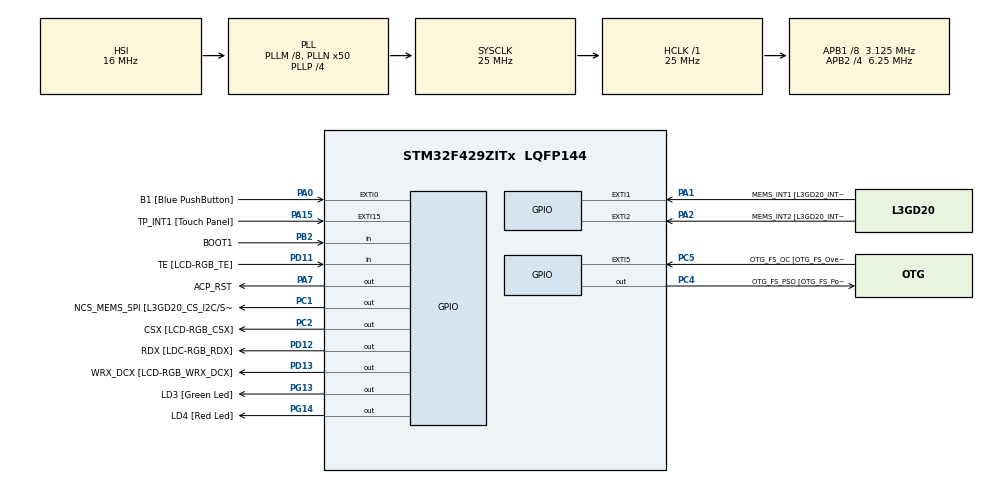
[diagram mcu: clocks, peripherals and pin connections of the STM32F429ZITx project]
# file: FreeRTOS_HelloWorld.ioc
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Mcu.Family=STM32F4
Mcu.Name=STM32F429ZITx
Mcu.Package=LQFP144
NVIC.PriorityGroup=NVIC_PRIORITYGROUP_4
NVIC.TIM6_DAC_IRQn=true\:0\:0\:false\:false\:true\:false\:true\:true
NVIC.TimeBase=TIM6_DAC_IRQn
NVIC.TimeBaseIP=TIM6
PA0/WKUP.GPIO_Label=B1 [Blue PushButton]
PA0/WKUP.GPIO_ModeDefaultEXTI=GPIO_MODE_EVT_RISING
PA0/WKUP.GPIO_PuPd=GPIO_NOPULL
PA0/WKUP.Signal=GPXTI0
PA1.GPIO_Label=MEMS_INT1 [L3GD20_INT1]
PA1.GPIO_ModeDefaultEXTI=GPIO_MODE_EVT_RISING
PA1.GPIO_PuPd=GPIO_NOPULL
PA1.Signal=GPXTI1
PA10.GPIO_Label=STLINK_TX [STM32F103CBT6_PA2]
PA10.Signal=USART1_RX
PA11.GPIO_Label=R4
PA11.GPIO_Mode=GPIO_MODE_AF_PP
PA11.GPIO_PuPd=GPIO_NOPULL
PA11.GPIO_Speed=GPIO_SPEED_FREQ_LOW
PA11.Signal=LTDC_R4
PA12.GPIO_Label=R5
PA12.GPIO_Mode=GPIO_MODE_AF_PP
PA12.GPIO_PuPd=GPIO_NOPULL
PA12.GPIO_Speed=GPIO_SPEED_FREQ_LOW
PA12.Signal=LTDC_R5
PA13.GPIO_Label=SWDIO
PA13.Mode=Serial_Wire
PA13.Signal=SYS_JTMS-SWDIO
PA14.GPIO_Label=SWCLK
PA14.Mode=Serial_Wire
PA14.Signal=SYS_JTCK-SWCLK
PA15.GPIO_Label=TP_INT1 [Touch Panel]
PA15.GPIO_ModeDefaultEXTI=GPIO_MODE_EVT_RISING
PA15.GPIO_PuPd=GPIO_NOPULL
PA15.Signal=GPXTI15
PA2.GPIO_Label=MEMS_INT2 [L3GD20_INT2]
PA2.GPIO_ModeDefaultEXTI=GPIO_MODE_EVT_RISING
PA2.GPIO_PuPd=GPIO_NOPULL
PA2.Signal=GPXTI2
PA3.GPIO_Label=B5
PA3.GPIO_Mode=GPIO_MODE_AF_PP
PA3.GPIO_PuPd=GPIO_NOPULL
PA3.GPIO_Speed=GPIO_SPEED_FREQ_LOW
PA3.Signal=LTDC_B5
PA4.GPIO_Label=VSYNC
PA4.GPIO_Mode=GPIO_MODE_AF_PP
PA4.GPIO_PuPd=GPIO_NOPULL
PA4.GPIO_Speed=GPIO_SPEED_FREQ_LOW
PA4.Signal=LTDC_VSYNC
PA6.GPIO_Label=G2
PA6.GPIO_Mode=GPIO_MODE_AF_PP
PA6.GPIO_PuPd=GPIO_NOPULL
PA6.GPIO_Speed=GPIO_SPEED_FREQ_LOW
PA6.Signal=LTDC_G2
PA7.GPIO_Label=ACP_RST
PA7.GPIO_Mode=GPIO_MODE_OUTPUT_PP
PA7.GPIO_PuPd=GPIO_NOPULL
PA7.GPIO_Speed=GPIO_SPEED_FREQ_LOW
PA7.Signal=GPIO_Output
PA8.GPIO_Label=I2C3_SCL [ACP/RF_SCL]
PA8.GPIO_Mode=GPIO_MODE_AF_OD
PA8.GPIO_PuPd=GPIO_NOPULL
PA8.GPIO_Speed=GPIO_SPEED_FREQ_LOW
PA8.Signal=I2C3_SCL
PA9.GPIO_Label=STLINK_RX [STM32F103CBT6_PA3]
PA9.Signal=USART1_TX
PB0.GPIO_Label=R3
PB0.GPIO_Mode=GPIO_MODE_AF_PP
PB0.GPIO_PuPd=GPIO_NOPULL
PB0.GPIO_Speed=GPIO_SPEED_FREQ_LOW
PB0.Signal=LTDC_R3
PB1.GPIO_Label=R6
PB1.GPIO_Mode=GPIO_MODE_AF_PP
PB1.GPIO_PuPd=GPIO_NOPULL
PB1.GPIO_Speed=GPIO_SPEED_FREQ_LOW
PB1.Signal=LTDC_R6
PB10.GPIO_Label=G4
PB10.GPIO_Mode=GPIO_MODE_AF_PP
PB10.GPIO_PuPd=GPIO_NOPULL
PB10.GPIO_Speed=GPIO_SPEED_FREQ_LOW
PB10.Signal=LTDC_G4
PB11.GPIO_Label=G5
PB11.GPIO_Mode=GPIO_MODE_AF_PP
PB11.GPIO_PuPd=GPIO_NOPULL
PB11.GPIO_Speed=GPIO_SPEED_FREQ_LOW
PB11.Signal=LTDC_G5
PB12.GPIO_Label=OTG_HS_ID
PB12.GPIO_Mode=GPIO_MODE_AF_PP
PB12.GPIO_PuPd=GPIO_NOPULL
PB12.GPIO_Speed=GPIO_SPEED_FREQ_LOW
PB12.Signal=USB_OTG_HS_ID
PB13.GPIO_Label=VBUS_HS
PB13.GPIO_Mode=GPIO_MODE_INPUT
PB13.GPIO_PuPd=GPIO_NOPULL
PB13.Signal=USB_OTG_HS_VBUS
PB14.GPIO_Label=OTG_HS_DM
PB14.GPIO_Mode=GPIO_MODE_AF_PP
PB14.GPIO_PuPd=GPIO_NOPULL
PB14.GPIO_Speed=GPIO_SPEED_FREQ_LOW
PB14.Signal=USB_OTG_HS_DM
PB15.GPIO_Label=OTG_HS_DP
PB15.GPIO_Mode=GPIO_MODE_AF_PP
PB15.GPIO_PuPd=GPIO_NOPULL
PB15.GPIO_Speed=GPIO_SPEED_FREQ_LOW
PB15.Signal=USB_OTG_HS_DP
PB2/BOOT1.GPIO_Label=BOOT1
PB2/BOOT1.GPIO_Mode=GPIO_MODE_INPUT
PB2/BOOT1.GPIO_PuPd=GPIO_NOPULL
PB2/BOOT1.Signal=GPIO_Input
PB5.GPIO_Label=SDCKE1
PB5.GPIO_Mode=GPIO_MODE_AF_PP
PB5.GPIO_PuPd=GPIO_NOPULL
PB5.GPIO_Speed=GPIO_SPEED_FREQ_VERY_HIGH
PB5.Signal=FMC_SDCKE1
PB6.GPIO_Label=SDNE1 [SDRAM_CS]
PB6.GPIO_Mode=GPIO_MODE_AF_PP
PB6.GPIO_PuPd=GPIO_NOPULL
PB6.GPIO_Speed=GPIO_SPEED_FREQ_VERY_HIGH
PB6.Signal=FMC_SDNE1
PB8.GPIO_Label=B6
PB8.GPIO_Mode=GPIO_MODE_AF_PP
PB8.GPIO_PuPd=GPIO_NOPULL
PB8.GPIO_Speed=GPIO_SPEED_FREQ_LOW
PB8.Signal=LTDC_B6
PB9.GPIO_Label=B7
PB9.GPIO_Mode=GPIO_MODE_AF_PP
PB9.GPIO_PuPd=GPIO_NOPULL
PB9.GPIO_Speed=GPIO_SPEED_FREQ_LOW
PB9.Signal=LTDC_B7
PC0.GPIO_Label=SDNWE
PC0.GPIO_Mode=GPIO_MODE_AF_PP
PC0.GPIO_PuPd=GPIO_NOPULL
PC0.GPIO_Speed=GPIO_SPEED_FREQ_VERY_HIGH
PC0.Signal=FMC_SDNWE
PC1.GPIO_Label=NCS_MEMS_SPI [L3GD20_CS_I2C/SPI]
PC1.GPIO_Mode=GPIO_MODE_OUTPUT_PP
PC1.GPIO_PuPd=GPIO_NOPULL
PC1.GPIO_Speed=GPIO_SPEED_FREQ_LOW
PC1.Signal=GPIO_Output
PC10.GPIO_Label=R2
PC10.GPIO_Mode=GPIO_MODE_AF_PP
PC10.GPIO_PuPd=GPIO_NOPULL
PC10.GPIO_Speed=GPIO_SPEED_FREQ_LOW
PC10.Signal=LTDC_R2
PC14/OSC32_IN.GPIO_Label=PC14-OSC32_IN
PC14/OSC32_IN.Signal=RCC_OSC32_IN
PC15/OSC32_OUT.GPIO_Label=PC15-OSC32_OUT
PC15/OSC32_OUT.Signal=RCC_OSC32_OUT
PC2.GPIO_Label=CSX [LCD-RGB_CSX]
PC2.GPIO_Mode=GPIO_MODE_OUTPUT_PP
PC2.GPIO_PuPd=GPIO_NOPULL
PC2.GPIO_Speed=GPIO_SPEED_FREQ_LOW
PC2.Signal=GPIO_Output
PC4.GPIO_Label=OTG_FS_PSO [OTG_FS_PowerSwitchOn]
PC4.GPIO_Mode=GPIO_MODE_OUTPUT_PP
PC4.GPIO_PuPd=GPIO_NOPULL
PC4.GPIO_Speed=GPIO_SPEED_FREQ_LOW
PC4.Signal=GPIO_Output
PC5.GPIO_Label=OTG_FS_OC [OTG_FS_OverCurrent]
PC5.GPIO_ModeDefaultEXTI=GPIO_MODE_EVT_RISING
PC5.Signal=GPXTI5
PC6.GPIO_Label=HSYNC
PC6.GPIO_Mode=GPIO_MODE_AF_PP
PC6.GPIO_PuPd=GPIO_NOPULL
PC6.GPIO_Speed=GPIO_SPEED_FREQ_LOW
PC6.Signal=LTDC_HSYNC
PC7.GPIO_Label=G6
PC7.GPIO_Mode=GPIO_MODE_AF_PP
PC7.GPIO_PuPd=GPIO_NOPULL
PC7.GPIO_Speed=GPIO_SPEED_FREQ_LOW
PC7.Signal=LTDC_G6
PC9.GPIO_Label=I2C3_SDA [ACP/RF_SDA]
PC9.GPIO_Mode=GPIO_MODE_AF_OD
PC9.GPIO_PuPd=GPIO_NOPULL
PC9.GPIO_Speed=GPIO_SPEED_FREQ_LOW
PC9.Signal=I2C3_SDA
PD0.GPIO_Label=D2
PD0.GPIO_Mode=GPIO_MODE_AF_PP
PD0.GPIO_PuPd=GPIO_NOPULL
PD0.GPIO_Speed=GPIO_SPEED_FREQ_VERY_HIGH
PD0.Signal=FMC_D2_DA2
PD1.GPIO_Label=D3
PD1.GPIO_Mode=GPIO_MODE_AF_PP
PD1.GPIO_PuPd=GPIO_NOPULL
PD1.GPIO_Speed=GPIO_SPEED_FREQ_VERY_HIGH
PD1.Signal=FMC_D3_DA3
PD10.GPIO_Label=D15
PD10.GPIO_Mode=GPIO_MODE_AF_PP
PD10.GPIO_PuPd=GPIO_NOPULL
PD10.GPIO_Speed=GPIO_SPEED_FREQ_VERY_HIGH
PD10.Signal=FMC_D15_DA15
PD11.GPIO_Label=TE [LCD-RGB_TE]
PD11.GPIO_Mode=GPIO_MODE_INPUT
PD11.GPIO_PuPd=GPIO_NOPULL
PD11.Signal=GPIO_Input
PD12.GPIO_Label=RDX [LDC-RGB_RDX]
PD12.GPIO_Mode=GPIO_MODE_OUTPUT_PP
PD12.GPIO_PuPd=GPIO_NOPULL
PD12.GPIO_Speed=GPIO_SPEED_FREQ_LOW
PD12.Signal=GPIO_Output
PD13.GPIO_Label=WRX_DCX [LCD-RGB_WRX_DCX]
PD13.GPIO_Mode=GPIO_MODE_OUTPUT_PP
PD13.GPIO_PuPd=GPIO_NOPULL
PD13.GPIO_Speed=GPIO_SPEED_FREQ_LOW
PD13.Signal=GPIO_Output
PD14.GPIO_Label=D0
PD14.GPIO_Mode=GPIO_MODE_AF_PP
PD14.GPIO_PuPd=GPIO_NOPULL
PD14.GPIO_Speed=GPIO_SPEED_FREQ_VERY_HIGH
PD14.Signal=FMC_D0_DA0
PD15.GPIO_Label=D1
PD15.GPIO_Mode=GPIO_MODE_AF_PP
PD15.GPIO_PuPd=GPIO_NOPULL
PD15.GPIO_Speed=GPIO_SPEED_FREQ_VERY_HIGH
PD15.Signal=FMC_D1_DA1
PD3.GPIO_Label=G7
PD3.GPIO_Mode=GPIO_MODE_AF_PP
PD3.GPIO_PuPd=GPIO_NOPULL
PD3.GPIO_Speed=GPIO_SPEED_FREQ_LOW
PD3.Signal=LTDC_G7
PD6.GPIO_Label=B2
PD6.GPIO_Mode=GPIO_MODE_AF_PP
PD6.GPIO_PuPd=GPIO_NOPULL
PD6.GPIO_Speed=GPIO_SPEED_FREQ_LOW
PD6.Signal=LTDC_B2
PD8.GPIO_Label=D13
PD8.GPIO_Mode=GPIO_MODE_AF_PP
PD8.GPIO_PuPd=GPIO_NOPULL
PD8.GPIO_Speed=GPIO_SPEED_FREQ_VERY_HIGH
PD8.Signal=FMC_D13_DA13
PD9.GPIO_Label=D14
PD9.GPIO_Mode=GPIO_MODE_AF_PP
PD9.GPIO_PuPd=GPIO_NOPULL
PD9.GPIO_Speed=GPIO_SPEED_FREQ_VERY_HIGH
PD9.Signal=FMC_D14_DA14
PE0.GPIO_Label=NBL0 [SDRAM_LDQM]
PE0.GPIO_Mode=GPIO_MODE_AF_PP
PE0.GPIO_PuPd=GPIO_NOPULL
PE0.GPIO_Speed=GPIO_SPEED_FREQ_VERY_HIGH
PE0.Signal=FMC_NBL0
PE1.GPIO_Label=NBL1 [SDRAM_UDQM]
PE1.GPIO_Mode=GPIO_MODE_AF_PP
PE1.GPIO_PuPd=GPIO_NOPULL
PE1.GPIO_Speed=GPIO_SPEED_FREQ_VERY_HIGH
PE1.Signal=FMC_NBL1
PE10.GPIO_Label=D7
PE10.GPIO_Mode=GPIO_MODE_AF_PP
PE10.GPIO_PuPd=GPIO_NOPULL
PE10.GPIO_Speed=GPIO_SPEED_FREQ_VERY_HIGH
PE10.Signal=FMC_D7_DA7
PE11.GPIO_Label=D8
PE11.GPIO_Mode=GPIO_MODE_AF_PP
PE11.GPIO_PuPd=GPIO_NOPULL
PE11.GPIO_Speed=GPIO_SPEED_FREQ_VERY_HIGH
PE11.Signal=FMC_D8_DA8
PE12.GPIO_Label=D9
PE12.GPIO_Mode=GPIO_MODE_AF_PP
PE12.GPIO_PuPd=GPIO_NOPULL
PE12.GPIO_Speed=GPIO_SPEED_FREQ_VERY_HIGH
PE12.Signal=FMC_D9_DA9
PE13.GPIO_Label=D10
PE13.GPIO_Mode=GPIO_MODE_AF_PP
PE13.GPIO_PuPd=GPIO_NOPULL
PE13.GPIO_Speed=GPIO_SPEED_FREQ_VERY_HIGH
PE13.Signal=FMC_D10_DA10
PE14.GPIO_Label=D11
PE14.GPIO_Mode=GPIO_MODE_AF_PP
PE14.GPIO_PuPd=GPIO_NOPULL
PE14.GPIO_Speed=GPIO_SPEED_FREQ_VERY_HIGH
PE14.Signal=FMC_D11_DA11
PE15.GPIO_Label=D12
PE15.GPIO_Mode=GPIO_MODE_AF_PP
PE15.GPIO_PuPd=GPIO_NOPULL
PE15.GPIO_Speed=GPIO_SPEED_FREQ_VERY_HIGH
PE15.Signal=FMC_D12_DA12
PE7.GPIO_Label=D4
PE7.GPIO_Mode=GPIO_MODE_AF_PP
PE7.GPIO_PuPd=GPIO_NOPULL
PE7.GPIO_Speed=GPIO_SPEED_FREQ_VERY_HIGH
PE7.Signal=FMC_D4_DA4
PE8.GPIO_Label=D5
PE8.GPIO_Mode=GPIO_MODE_AF_PP
PE8.GPIO_PuPd=GPIO_NOPULL
PE8.GPIO_Speed=GPIO_SPEED_FREQ_VERY_HIGH
PE8.Signal=FMC_D5_DA5
PE9.GPIO_Label=D6
PE9.GPIO_Mode=GPIO_MODE_AF_PP
PE9.GPIO_PuPd=GPIO_NOPULL
PE9.GPIO_Speed=GPIO_SPEED_FREQ_VERY_HIGH
PE9.Signal=FMC_D6_DA6
PF0.GPIO_Label=A0
PF0.GPIO_Mode=GPIO_MODE_AF_PP
PF0.GPIO_PuPd=GPIO_NOPULL
PF0.GPIO_Speed=GPIO_SPEED_FREQ_VERY_HIGH
PF0.Signal=FMC_A0
PF1.GPIO_Label=A1
PF1.GPIO_Mode=GPIO_MODE_AF_PP
PF1.GPIO_PuPd=GPIO_NOPULL
PF1.GPIO_Speed=GPIO_SPEED_FREQ_VERY_HIGH
PF1.Signal=FMC_A1
PF10.GPIO_Label=ENABLE [LCD-RGB_ENABLE]
PF10.GPIO_Mode=GPIO_MODE_AF_PP
PF10.GPIO_PuPd=GPIO_NOPULL
PF10.GPIO_Speed=GPIO_SPEED_FREQ_LOW
PF10.Signal=LTDC_DE
PF11.GPIO_Label=SDNRAS
PF11.GPIO_Mode=GPIO_MODE_AF_PP
PF11.GPIO_PuPd=GPIO_NOPULL
PF11.GPIO_Speed=GPIO_SPEED_FREQ_VERY_HIGH
PF11.Signal=FMC_SDNRAS
PF12.GPIO_Label=A6
PF12.GPIO_Mode=GPIO_MODE_AF_PP
PF12.GPIO_PuPd=GPIO_NOPULL
PF12.GPIO_Speed=GPIO_SPEED_FREQ_VERY_HIGH
PF12.Signal=FMC_A6
PF13.GPIO_Label=A7
PF13.GPIO_Mode=GPIO_MODE_AF_PP
PF13.GPIO_PuPd=GPIO_NOPULL
PF13.GPIO_Speed=GPIO_SPEED_FREQ_VERY_HIGH
PF13.Signal=FMC_A7
PF14.GPIO_Label=A8
PF14.GPIO_Mode=GPIO_MODE_AF_PP
PF14.GPIO_PuPd=GPIO_NOPULL
PF14.GPIO_Speed=GPIO_SPEED_FREQ_VERY_HIGH
PF14.Signal=FMC_A8
PF15.GPIO_Label=A9
PF15.GPIO_Mode=GPIO_MODE_AF_PP
PF15.GPIO_PuPd=GPIO_NOPULL
PF15.GPIO_Speed=GPIO_SPEED_FREQ_VERY_HIGH
PF15.Signal=FMC_A9
PF2.GPIO_Label=A2
PF2.GPIO_Mode=GPIO_MODE_AF_PP
PF2.GPIO_PuPd=GPIO_NOPULL
PF2.GPIO_Speed=GPIO_SPEED_FREQ_VERY_HIGH
PF2.Signal=FMC_A2
PF3.GPIO_Label=A3
PF3.GPIO_Mode=GPIO_MODE_AF_PP
PF3.GPIO_PuPd=GPIO_NOPULL
PF3.GPIO_Speed=GPIO_SPEED_FREQ_VERY_HIGH
PF3.Signal=FMC_A3
PF4.GPIO_Label=A4
PF4.GPIO_Mode=GPIO_MODE_AF_PP
PF4.GPIO_PuPd=GPIO_NOPULL
PF4.GPIO_Speed=GPIO_SPEED_FREQ_VERY_HIGH
PF4.Signal=FMC_A4
PF5.GPIO_Label=A5
PF5.GPIO_Mode=GPIO_MODE_AF_PP
PF5.GPIO_PuPd=GPIO_NOPULL
PF5.GPIO_Speed=GPIO_SPEED_FREQ_VERY_HIGH
PF5.Signal=FMC_A5
PF7.GPIO_Label=SPI5_SCK [L3GD20_SCL/SPC]
PF7.GPIO_Mode=GPIO_MODE_AF_PP
PF7.GPIO_PuPd=GPIO_NOPULL
PF7.GPIO_Speed=GPIO_SPEED_FREQ_LOW
PF7.Signal=SPI5_SCK
PF8.GPIO_Label=SPI5_MISO [L3GD20_SDO]
PF8.GPIO_Mode=GPIO_MODE_AF_PP
PF8.GPIO_PuPd=GPIO_NOPULL
PF8.GPIO_Speed=GPIO_SPEED_FREQ_LOW
PF8.Signal=SPI5_MISO
PF9.GPIO_Label=SPI5_MOSI [L3GD20_SDA/SDI/SDO]
PF9.GPIO_Mode=GPIO_MODE_AF_PP
PF9.GPIO_PuPd=GPIO_NOPULL
PF9.GPIO_Speed=GPIO_SPEED_FREQ_LOW
PF9.Signal=SPI5_MOSI
PG0.GPIO_Label=A10
PG0.GPIO_Mode=GPIO_MODE_AF_PP
PG0.GPIO_PuPd=GPIO_NOPULL
PG0.GPIO_Speed=GPIO_SPEED_FREQ_VERY_HIGH
PG0.Signal=FMC_A10
PG1.GPIO_Label=A11
PG1.GPIO_Mode=GPIO_MODE_AF_PP
PG1.GPIO_PuPd=GPIO_NOPULL
PG1.GPIO_Speed=GPIO_SPEED_FREQ_VERY_HIGH
PG1.Signal=FMC_A11
PG10.GPIO_Label=G3
PG10.GPIO_Mode=GPIO_MODE_AF_PP
PG10.GPIO_PuPd=GPIO_NOPULL
PG10.GPIO_Speed=GPIO_SPEED_FREQ_LOW
PG10.Signal=LTDC_G3
PG11.GPIO_Label=B3
PG11.GPIO_Mode=GPIO_MODE_AF_PP
PG11.GPIO_PuPd=GPIO_NOPULL
PG11.GPIO_Speed=GPIO_SPEED_FREQ_LOW
PG11.Signal=LTDC_B3
PG12.GPIO_Label=B4
PG12.GPIO_Mode=GPIO_MODE_AF_PP
PG12.GPIO_PuPd=GPIO_NOPULL
PG12.GPIO_Speed=GPIO_SPEED_FREQ_LOW
PG12.Signal=LTDC_B4
PG13.GPIO_Label=LD3 [Green Led]
PG13.GPIO_Mode=GPIO_MODE_OUTPUT_PP
PG13.GPIO_PuPd=GPIO_NOPULL
PG13.GPIO_Speed=GPIO_SPEED_FREQ_LOW
PG13.Signal=GPIO_Output
PG14.GPIO_Label=LD4 [Red Led]
PG14.GPIO_Mode=GPIO_MODE_OUTPUT_PP
PG14.GPIO_PuPd=GPIO_NOPULL
PG14.GPIO_Speed=GPIO_SPEED_FREQ_LOW
PG14.Signal=GPIO_Output
PG15.GPIO_Label=SDNCAS
PG15.GPIO_Mode=GPIO_MODE_AF_PP
PG15.GPIO_PuPd=GPIO_NOPULL
PG15.GPIO_Speed=GPIO_SPEED_FREQ_VERY_HIGH
PG15.Signal=FMC_SDNCAS
PG4.GPIO_Label=BA0
PG4.GPIO_Mode=GPIO_MODE_AF_PP
PG4.GPIO_PuPd=GPIO_NOPULL
PG4.GPIO_Speed=GPIO_SPEED_FREQ_VERY_HIGH
PG4.Signal=FMC_A14_BA0
PG5.GPIO_Label=BA1
PG5.GPIO_Mode=GPIO_MODE_AF_PP
PG5.GPIO_PuPd=GPIO_NOPULL
PG5.GPIO_Speed=GPIO_SPEED_FREQ_VERY_HIGH
PG5.Signal=FMC_A15_BA1
PG6.GPIO_Label=R7
PG6.GPIO_Mode=GPIO_MODE_AF_PP
PG6.GPIO_PuPd=GPIO_NOPULL
PG6.GPIO_Speed=GPIO_SPEED_FREQ_LOW
PG6.Signal=LTDC_R7
PG7.GPIO_Label=DOTCLK [LCT-RGB_DOTCLK]
PG7.GPIO_Mode=GPIO_MODE_AF_PP
PG7.GPIO_PuPd=GPIO_NOPULL
PG7.GPIO_Speed=GPIO_SPEED_FREQ_LOW
PG7.Signal=LTDC_CLK
PG8.GPIO_Label=SDCLK
PG8.GPIO_Mode=GPIO_MODE_AF_PP
PG8.GPIO_PuPd=GPIO_NOPULL
PG8.GPIO_Speed=GPIO_SPEED_FREQ_VERY_HIGH
PG8.Signal=FMC_SDCLK
PH0/OSC_IN.GPIO_Label=PH0-OSC_IN
PH0/OSC_IN.Signal=RCC_OSC_IN
PH1/OSC_OUT.GPIO_Label=PH1-OSC_OUT
PH1/OSC_OUT.Signal=RCC_OSC_OUT
ProjectManager.HeapSize=0x200
ProjectManager.StackSize=0x400
ProjectManager.TargetToolchain=STM32CubeIDE
RCC.48MHZClocksFreq_Value=14285714.285714285
RCC.AHBFreq_Value=25000000
RCC.APB1CLKDivider=RCC_HCLK_DIV8
RCC.APB1Freq_Value=3125000
RCC.APB1TimFreq_Value=6250000
RCC.APB2CLKDivider=RCC_HCLK_DIV4
RCC.APB2Freq_Value=6250000
RCC.APB2TimFreq_Value=12500000
RCC.CortexFreq_Value=25000000
RCC.HCLKFreq_Value=25000000
RCC.HSE_VALUE=8000000
RCC.HSI_VALUE=16000000
RCC.LSE_VALUE=32768
RCC.PLLM=8
RCC.PLLN=50
RCC.PLLP=RCC_PLLP_DIV4
RCC.PLLQ=7
RCC.SYSCLKFreq_VALUE=25000000
RCC.SYSCLKSource=RCC_SYSCLKSOURCE_PLLCLK
RCC.VCOOutputFreq_Value=100000000
SH.FMC_A0.0=FMC_A0
SH.FMC_A1.0=FMC_A1
SH.FMC_A10.0=FMC_A10
SH.FMC_A11.0=FMC_A11
SH.FMC_A14_BA0.0=FMC_BA0
SH.FMC_A15_BA1.0=FMC_BA1
SH.FMC_A2.0=FMC_A2
SH.FMC_A3.0=FMC_A3
SH.FMC_A4.0=FMC_A4
SH.FMC_A5.0=FMC_A5
SH.FMC_A6.0=FMC_A6
SH.FMC_A7.0=FMC_A7
SH.FMC_A8.0=FMC_A8
SH.FMC_A9.0=FMC_A9
SH.FMC_D0_DA0.0=FMC_D0
SH.FMC_D10_DA10.0=FMC_D10
SH.FMC_D11_DA11.0=FMC_D11
SH.FMC_D12_DA12.0=FMC_D12
SH.FMC_D13_DA13.0=FMC_D13
SH.FMC_D14_DA14.0=FMC_D14
SH.FMC_D15_DA15.0=FMC_D15
SH.FMC_D1_DA1.0=FMC_D1
SH.FMC_D2_DA2.0=FMC_D2
SH.FMC_D3_DA3.0=FMC_D3
SH.FMC_D4_DA4.0=FMC_D4
SH.FMC_D5_DA5.0=FMC_D5
SH.FMC_D6_DA6.0=FMC_D6
SH.FMC_D7_DA7.0=FMC_D7
SH.FMC_D8_DA8.0=FMC_D8
SH.FMC_D9_DA9.0=FMC_D9
SH.FMC_NBL0.0=FMC_NBL0
SH.FMC_NBL1.0=FMC_NBL1
SH.FMC_SDCLK.0=FMC_SDCLK
SH.FMC_SDNCAS.0=FMC_SDNCAS
SH.FMC_SDNRAS.0=FMC_SDNRAS
SH.FMC_SDNWE.0=FMC_SDNWE
VP_SYS_VS_tim6.Mode=TIM6
board=STM32F429I-DISC1

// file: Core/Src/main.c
/* USER CODE BEGIN Header */
/**
  ******************************************************************************
  * @file           : main.c
  * @brief          : Main program body
  ******************************************************************************
  * @attention
  *
  * Copyright (c) 2022 STMicroelectronics.
  * All rights reserved.
  *
  * This software is licensed under terms that can be found in the LICENSE file
  * in the root directory of this software component.
  * If no LICENSE file comes with this software, it is provided AS-IS.
  *
  ******************************************************************************
  */
/* USER CODE END Header */
#include "main.h"

/* USER CODE BEGIN Includes */
#include "FreeRTOS.h"
#include "task.h"
#include <stdio.h>
#include "SEGGER_SYSVIEW.h"
/* USER CODE END Includes */

/* USER CODE BEGIN PD */
#define DWT_CTRL            (*(volatile uint32_t*)0xE0001000u)
/* USER CODE END PD */

void SystemClock_Config(void);
static void MX_GPIO_Init(void);
/* USER CODE BEGIN PFP */
static void Task1_Handler( void* parameter);
static void Task2_Handler( void* parameter);
/* USER CODE END PFP */

int main(void)
{
  /* USER CODE BEGIN 1 */
  TaskHandle_t task1_handle, task2_handle;
  BaseType_t status;
  /* USER CODE END 1 */

  /* MCU Configuration--------------------------------------------------------*/

  /* Reset of all peripherals, Initializes the Flash interface and the Systick. */
  HAL_Init();

  /* Configure the system clock */
  SystemClock_Config();

  /* Initialize all configured peripherals */
  MX_GPIO_Init();
  /* USER CODE BEGIN 2 */

  /* Enable the Cycle Counter i.e. CYCCNT */
  DWT_CTRL |= (0x01 << 0);

  /* SystemView should be configured and start before using any FreeRTOS API's */
  SEGGER_SYSVIEW_Conf();
  SEGGER_SYSVIEW_Start();

  /* Create Task-1*/
  status = xTaskCreate(Task1_Handler, "Task-1", 200, "Hello World from Task-1", 2, &task1_handle);
  configASSERT(status == pdPASS);
  /* Create Task-2*/
  status = xTaskCreate(Task2_Handler, "Task-2", 200, "Hello World from Task-2", 2, &task2_handle);
  configASSERT(status == pdPASS);

  /* Start the Scheduler */
  vTaskStartScheduler();
  /* control shouldn't come here, if it is coming then there is some problem */
  /* this failure can happen due to insufficient memory in heap */

  /* USER CODE END 2 */

  /* Infinite loop */
  while (1)
  {

  }
}

void SystemClock_Config(void)
{
  RCC_OscInitTypeDef RCC_OscInitStruct = {0};
  RCC_ClkInitTypeDef RCC_ClkInitStruct = {0};

  /** Configure the main internal regulator output voltage
  */
  __HAL_RCC_PWR_CLK_ENABLE();
  __HAL_PWR_VOLTAGESCALING_CONFIG(PWR_REGULATOR_VOLTAGE_SCALE3);

  /** Initializes the RCC Oscillators according to the specified parameters
  * in the RCC_OscInitTypeDef structure.
  */
  RCC_OscInitStruct.OscillatorType = RCC_OSCILLATORTYPE_HSI;
  RCC_OscInitStruct.HSIState = RCC_HSI_ON;
  RCC_OscInitStruct.HSICalibrationValue = RCC_HSICALIBRATION_DEFAULT;
  RCC_OscInitStruct.PLL.PLLState = RCC_PLL_ON;
  RCC_OscInitStruct.PLL.PLLSource = RCC_PLLSOURCE_HSI;
  RCC_OscInitStruct.PLL.PLLM = 8;
  RCC_OscInitStruct.PLL.PLLN = 50;
  RCC_OscInitStruct.PLL.PLLP = RCC_PLLP_DIV4;
  RCC_OscInitStruct.PLL.PLLQ = 7;
  if (HAL_RCC_OscConfig(&RCC_OscInitStruct) != HAL_OK)
  {
    Error_Handler();
  }

  /** Initializes the CPU, AHB and APB buses clocks
  */
  RCC_ClkInitStruct.ClockType = RCC_CLOCKTYPE_HCLK|RCC_CLOCKTYPE_SYSCLK
                              |RCC_CLOCKTYPE_PCLK1|RCC_CLOCKTYPE_PCLK2;
  RCC_ClkInitStruct.SYSCLKSource = RCC_SYSCLKSOURCE_PLLCLK;
  RCC_ClkInitStruct.AHBCLKDivider = RCC_SYSCLK_DIV1;
  RCC_ClkInitStruct.APB1CLKDivider = RCC_HCLK_DIV8;
  RCC_ClkInitStruct.APB2CLKDivider = RCC_HCLK_DIV4;

  if (HAL_RCC_ClockConfig(&RCC_ClkInitStruct, FLASH_LATENCY_0) != HAL_OK)
  {
    Error_Handler();
  }
}

static void MX_GPIO_Init(void)
{
  GPIO_InitTypeDef GPIO_InitStruct = {0};

  /* GPIO Ports Clock Enable */
  __HAL_RCC_GPIOC_CLK_ENABLE();
  __HAL_RCC_GPIOF_CLK_ENABLE();
  __HAL_RCC_GPIOH_CLK_ENABLE();
  __HAL_RCC_GPIOA_CLK_ENABLE();
  __HAL_RCC_GPIOB_CLK_ENABLE();
  __HAL_RCC_GPIOG_CLK_ENABLE();
  __HAL_RCC_GPIOE_CLK_ENABLE();
  __HAL_RCC_GPIOD_CLK_ENABLE();

  /*Configure GPIO pin Output Level */
  HAL_GPIO_WritePin(GPIOC, NCS_MEMS_SPI_Pin|CSX_Pin|OTG_FS_PSO_Pin, GPIO_PIN_RESET);

  /*Configure GPIO pin Output Level */
  HAL_GPIO_WritePin(ACP_RST_GPIO_Port, ACP_RST_Pin, GPIO_PIN_RESET);

  /*Configure GPIO pin Output Level */
  HAL_GPIO_WritePin(GPIOD, RDX_Pin|WRX_DCX_Pin, GPIO_PIN_RESET);

  /*Configure GPIO pin Output Level */
  HAL_GPIO_WritePin(GPIOG, LD3_Pin|LD4_Pin, GPIO_PIN_RESET);

  /*Configure GPIO pins : A0_Pin A1_Pin A2_Pin A3_Pin
                           A4_Pin A5_Pin SDNRAS_Pin A6_Pin
                           A7_Pin A8_Pin A9_Pin */
  GPIO_InitStruct.Pin = A0_Pin|A1_Pin|A2_Pin|A3_Pin
                          |A4_Pin|A5_Pin|SDNRAS_Pin|A6_Pin
                          |A7_Pin|A8_Pin|A9_Pin;
  GPIO_InitStruct.Mode = GPIO_MODE_AF_PP;
  GPIO_InitStruct.Pull = GPIO_NOPULL;
  GPIO_InitStruct.Speed = GPIO_SPEED_FREQ_VERY_HIGH;
  GPIO_InitStruct.Alternate = GPIO_AF12_FMC;
  HAL_GPIO_Init(GPIOF, &GPIO_InitStruct);

  /*Configure GPIO pins : SPI5_SCK_Pin SPI5_MISO_Pin SPI5_MOSI_Pin */
  GPIO_InitStruct.Pin = SPI5_SCK_Pin|SPI5_MISO_Pin|SPI5_MOSI_Pin;
  GPIO_InitStruct.Mode = GPIO_MODE_AF_PP;
  GPIO_InitStruct.Pull = GPIO_NOPULL;
  GPIO_InitStruct.Speed = GPIO_SPEED_FREQ_LOW;
  GPIO_InitStruct.Alternate = GPIO_AF5_SPI5;
  HAL_GPIO_Init(GPIOF, &GPIO_InitStruct);

  /*Configure GPIO pin : ENABLE_Pin */
  GPIO_InitStruct.Pin = ENABLE_Pin;
  GPIO_InitStruct.Mode = GPIO_MODE_AF_PP;
  GPIO_InitStruct.Pull = GPIO_NOPULL;
  GPIO_InitStruct.Speed = GPIO_SPEED_FREQ_LOW;
  GPIO_InitStruct.Alternate = GPIO_AF14_LTDC;
  HAL_GPIO_Init(ENABLE_GPIO_Port, &GPIO_InitStruct);

  /*Configure GPIO pin : SDNWE_Pin */
  GPIO_InitStruct.Pin = SDNWE_Pin;
  GPIO_InitStruct.Mode = GPIO_MODE_AF_PP;
  GPIO_InitStruct.Pull = GPIO_NOPULL;
  GPIO_InitStruct.Speed = GPIO_SPEED_FREQ_VERY_HIGH;
  GPIO_InitStruct.Alternate = GPIO_AF12_FMC;
  HAL_GPIO_Init(SDNWE_GPIO_Port, &GPIO_InitStruct);

  /*Configure GPIO pins : NCS_MEMS_SPI_Pin CSX_Pin OTG_FS_PSO_Pin */
  GPIO_InitStruct.Pin = NCS_MEMS_SPI_Pin|CSX_Pin|OTG_FS_PSO_Pin;
  GPIO_InitStruct.Mode = GPIO_MODE_OUTPUT_PP;
  GPIO_InitStruct.Pull = GPIO_NOPULL;
  GPIO_InitStruct.Speed = GPIO_SPEED_FREQ_LOW;
  HAL_GPIO_Init(GPIOC, &GPIO_InitStruct);

  /*Configure GPIO pins : B1_Pin MEMS_INT1_Pin MEMS_INT2_Pin TP_INT1_Pin */
  GPIO_InitStruct.Pin = B1_Pin|MEMS_INT1_Pin|MEMS_INT2_Pin|TP_INT1_Pin;
  GPIO_InitStruct.Mode = GPIO_MODE_EVT_RISING;
  GPIO_InitStruct.Pull = GPIO_NOPULL;
  HAL_GPIO_Init(GPIOA, &GPIO_InitStruct);

  /*Configure GPIO pins : B5_Pin VSYNC_Pin G2_Pin R4_Pin
                           R5_Pin */
  GPIO_InitStruct.Pin = B5_Pin|VSYNC_Pin|G2_Pin|R4_Pin
                          |R5_Pin;
  GPIO_InitStruct.Mode = GPIO_MODE_AF_PP;
  GPIO_InitStruct.Pull = GPIO_NOPULL;
  GPIO_InitStruct.Speed = GPIO_SPEED_FREQ_LOW;
  GPIO_InitStruct.Alternate = GPIO_AF14_LTDC;
  HAL_GPIO_Init(GPIOA, &GPIO_InitStruct);

  /*Configure GPIO pin : ACP_RST_Pin */
  GPIO_InitStruct.Pin = ACP_RST_Pin;
  GPIO_InitStruct.Mode = GPIO_MODE_OUTPUT_PP;
  GPIO_InitStruct.Pull = GPIO_NOPULL;
  GPIO_InitStruct.Speed = GPIO_SPEED_FREQ_LOW;
  HAL_GPIO_Init(ACP_RST_GPIO_Port, &GPIO_InitStruct);

  /*Configure GPIO pin : OTG_FS_OC_Pin */
  GPIO_InitStruct.Pin = OTG_FS_OC_Pin;
  GPIO_InitStruct.Mode = GPIO_MODE_EVT_RISING;
  GPIO_InitStruct.Pull = GPIO_NOPULL;
  HAL_GPIO_Init(OTG_FS_OC_GPIO_Port, &GPIO_InitStruct);

  /*Configure GPIO pins : R3_Pin R6_Pin */
  GPIO_InitStruct.Pin = R3_Pin|R6_Pin;
  GPIO_InitStruct.Mode = GPIO_MODE_AF_PP;
  GPIO_InitStruct.Pull = GPIO_NOPULL;
  GPIO_InitStruct.Speed = GPIO_SPEED_FREQ_LOW;
  GPIO_InitStruct.Alternate = GPIO_AF9_LTDC;
  HAL_GPIO_Init(GPIOB, &GPIO_InitStruct);

  /*Configure GPIO pin : BOOT1_Pin */
  GPIO_InitStruct.Pin = BOOT1_Pin;
  GPIO_InitStruct.Mode = GPIO_MODE_INPUT;
  GPIO_InitStruct.Pull = GPIO_NOPULL;
  HAL_GPIO_Init(BOOT1_GPIO_Port, &GPIO_InitStruct);

  /*Configure GPIO pins : A10_Pin A11_Pin BA0_Pin BA1_Pin
                           SDCLK_Pin SDNCAS_Pin */
  GPIO_InitStruct.Pin = A10_Pin|A11_Pin|BA0_Pin|BA1_Pin
                          |SDCLK_Pin|SDNCAS_Pin;
  GPIO_InitStruct.Mode = GPIO_MODE_AF_PP;
  GPIO_InitStruct.Pull = GPIO_NOPULL;
  GPIO_InitStruct.Speed = GPIO_SPEED_FREQ_VERY_HIGH;
  GPIO_InitStruct.Alternate = GPIO_AF12_FMC;
  HAL_GPIO_Init(GPIOG, &GPIO_InitStruct);

  /*Configure GPIO pins : D4_Pin D5_Pin D6_Pin D7_Pin
                           D8_Pin D9_Pin D10_Pin D11_Pin
                           D12_Pin NBL0_Pin NBL1_Pin */
  GPIO_InitStruct.Pin = D4_Pin|D5_Pin|D6_Pin|D7_Pin
                          |D8_Pin|D9_Pin|D10_Pin|D11_Pin
                          |D12_Pin|NBL0_Pin|NBL1_Pin;
  GPIO_InitStruct.Mode = GPIO_MODE_AF_PP;
  GPIO_InitStruct.Pull = GPIO_NOPULL;
  GPIO_InitStruct.Speed = GPIO_SPEED_FREQ_VERY_HIGH;
  GPIO_InitStruct.Alternate = GPIO_AF12_FMC;
  HAL_GPIO_Init(GPIOE, &GPIO_InitStruct);

  /*Configure GPIO pins : G4_Pin G5_Pin B6_Pin B7_Pin */
  GPIO_InitStruct.Pin = G4_Pin|G5_Pin|B6_Pin|B7_Pin;
  GPIO_InitStruct.Mode = GPIO_MODE_AF_PP;
  GPIO_InitStruct.Pull = GPIO_NOPULL;
  GPIO_InitStruct.Speed = GPIO_SPEED_FREQ_LOW;
  GPIO_InitStruct.Alternate = GPIO_AF14_LTDC;
  HAL_GPIO_Init(GPIOB, &GPIO_InitStruct);

  /*Configure GPIO pins : OTG_HS_ID_Pin OTG_HS_DM_Pin OTG_HS_DP_Pin */
  GPIO_InitStruct.Pin = OTG_HS_ID_Pin|OTG_HS_DM_Pin|OTG_HS_DP_Pin;
  GPIO_InitStruct.Mode = GPIO_MODE_AF_PP;
  GPIO_InitStruct.Pull = GPIO_NOPULL;
  GPIO_InitStruct.Speed = GPIO_SPEED_FREQ_LOW;
  GPIO_InitStruct.Alternate = GPIO_AF12_OTG_HS_FS;
  HAL_GPIO_Init(GPIOB, &GPIO_InitStruct);

  /*Configure GPIO pin : VBUS_HS_Pin */
  GPIO_InitStruct.Pin = VBUS_HS_Pin;
  GPIO_InitStruct.Mode = GPIO_MODE_INPUT;
  GPIO_InitStruct.Pull = GPIO_NOPULL;
  HAL_GPIO_Init(VBUS_HS_GPIO_Port, &GPIO_InitStruct);

  /*Configure GPIO pins : D13_Pin D14_Pin D15_Pin D0_Pin
                           D1_Pin D2_Pin D3_Pin */
  GPIO_InitStruct.Pin = D13_Pin|D14_Pin|D15_Pin|D0_Pin
                          |D1_Pin|D2_Pin|D3_Pin;
  GPIO_InitStruct.Mode = GPIO_MODE_AF_PP;
  GPIO_InitStruct.Pull = GPIO_NOPULL;
  GPIO_InitStruct.Speed = GPIO_SPEED_FREQ_VERY_HIGH;
  GPIO_InitStruct.Alternate = GPIO_AF12_FMC;
  HAL_GPIO_Init(GPIOD, &GPIO_InitStruct);

  /*Configure GPIO pin : TE_Pin */
  GPIO_InitStruct.Pin = TE_Pin;
  GPIO_InitStruct.Mode = GPIO_MODE_INPUT;
  GPIO_InitStruct.Pull = GPIO_NOPULL;
  HAL_GPIO_Init(TE_GPIO_Port, &GPIO_InitStruct);

  /*Configure GPIO pins : RDX_Pin WRX_DCX_Pin */
  GPIO_InitStruct.Pin = RDX_Pin|WRX_DCX_Pin;
  GPIO_InitStruct.Mode = GPIO_MODE_OUTPUT_PP;
  GPIO_InitStruct.Pull = GPIO_NOPULL;
  GPIO_InitStruct.Speed = GPIO_SPEED_FREQ_LOW;
  HAL_GPIO_Init(GPIOD, &GPIO_InitStruct);

  /*Configure GPIO pins : R7_Pin DOTCLK_Pin B3_Pin */
  GPIO_InitStruct.Pin = R7_Pin|DOTCLK_Pin|B3_Pin;
  GPIO_InitStruct.Mode = GPIO_MODE_AF_PP;
  GPIO_InitStruct.Pull = GPIO_NOPULL;
  GPIO_InitStruct.Speed = GPIO_SPEED_FREQ_LOW;
  GPIO_InitStruct.Alternate = GPIO_AF14_LTDC;
  HAL_GPIO_Init(GPIOG, &GPIO_InitStruct);

  /*Configure GPIO pins : HSYNC_Pin G6_Pin R2_Pin */
  GPIO_InitStruct.Pin = HSYNC_Pin|G6_Pin|R2_Pin;
  GPIO_InitStruct.Mode = GPIO_MODE_AF_PP;
  GPIO_InitStruct.Pull = GPIO_NOPULL;
  GPIO_InitStruct.Speed = GPIO_SPEED_FREQ_LOW;
  GPIO_InitStruct.Alternate = GPIO_AF14_LTDC;
  HAL_GPIO_Init(GPIOC, &GPIO_InitStruct);

  /*Configure GPIO pin : I2C3_SDA_Pin */
  GPIO_InitStruct.Pin = I2C3_SDA_Pin;
  GPIO_InitStruct.Mode = GPIO_MODE_AF_OD;
  GPIO_InitStruct.Pull = GPIO_NOPULL;
  GPIO_InitStruct.Speed = GPIO_SPEED_FREQ_LOW;
  GPIO_InitStruct.Alternate = GPIO_AF4_I2C3;
  HAL_GPIO_Init(I2C3_SDA_GPIO_Port, &GPIO_InitStruct);

  /*Configure GPIO pin : I2C3_SCL_Pin */
  GPIO_InitStruct.Pin = I2C3_SCL_Pin;
  GPIO_InitStruct.Mode = GPIO_MODE_AF_OD;
  GPIO_InitStruct.Pull = GPIO_NOPULL;
  GPIO_InitStruct.Speed = GPIO_SPEED_FREQ_LOW;
  GPIO_InitStruct.Alternate = GPIO_AF4_I2C3;
  HAL_GPIO_Init(I2C3_SCL_GPIO_Port, &GPIO_InitStruct);

  /*Configure GPIO pins : STLINK_RX_Pin STLINK_TX_Pin */
  GPIO_InitStruct.Pin = STLINK_RX_Pin|STLINK_TX_Pin;
  GPIO_InitStruct.Mode = GPIO_MODE_AF_PP;
  GPIO_InitStruct.Pull = GPIO_NOPULL;
  GPIO_InitStruct.Speed = GPIO_SPEED_FREQ_VERY_HIGH;
  GPIO_InitStruct.Alternate = GPIO_AF7_USART1;
  HAL_GPIO_Init(GPIOA, &GPIO_InitStruct);

  /*Configure GPIO pins : G7_Pin B2_Pin */
  GPIO_InitStruct.Pin = G7_Pin|B2_Pin;
  GPIO_InitStruct.Mode = GPIO_MODE_AF_PP;
  GPIO_InitStruct.Pull = GPIO_NOPULL;
  GPIO_InitStruct.Speed = GPIO_SPEED_FREQ_LOW;
  GPIO_InitStruct.Alternate = GPIO_AF14_LTDC;
  HAL_GPIO_Init(GPIOD, &GPIO_InitStruct);

  /*Configure GPIO pins : G3_Pin B4_Pin */
  GPIO_InitStruct.Pin = G3_Pin|B4_Pin;
  GPIO_InitStruct.Mode = GPIO_MODE_AF_PP;
  GPIO_InitStruct.Pull = GPIO_NOPULL;
  GPIO_InitStruct.Speed = GPIO_SPEED_FREQ_LOW;
  GPIO_InitStruct.Alternate = GPIO_AF9_LTDC;
  HAL_GPIO_Init(GPIOG, &GPIO_InitStruct);

  /*Configure GPIO pins : LD3_Pin LD4_Pin */
  GPIO_InitStruct.Pin = LD3_Pin|LD4_Pin;
  GPIO_InitStruct.Mode = GPIO_MODE_OUTPUT_PP;
  GPIO_InitStruct.Pull = GPIO_NOPULL;
  GPIO_InitStruct.Speed = GPIO_SPEED_FREQ_LOW;
  HAL_GPIO_Init(GPIOG, &GPIO_InitStruct);

  /*Configure GPIO pins : SDCKE1_Pin SDNE1_Pin */
  GPIO_InitStruct.Pin = SDCKE1_Pin|SDNE1_Pin;
  GPIO_InitStruct.Mode = GPIO_MODE_AF_PP;
  GPIO_InitStruct.Pull = GPIO_NOPULL;
  GPIO_InitStruct.Speed = GPIO_SPEED_FREQ_VERY_HIGH;
  GPIO_InitStruct.Alternate = GPIO_AF12_FMC;
  HAL_GPIO_Init(GPIOB, &GPIO_InitStruct);

}

/* USER CODE BEGIN 4 */
static void Task1_Handler( void* parameter)
{
  char msg[100];
  while( 1 )
  {
    /* printf("%s\n", (char*)parameter);
    Instead of using printf, we will use SEGGER_SYSVIEW_PrintfTarget and this
    will help in showing these messages in task on SystemView PC Host App.*/
    snprintf(msg, 100, "%s\n", (char*)parameter);
    SEGGER_SYSVIEW_PrintfTarget(msg);
    /* this will force the context switch or willingly giving up the processor */
    taskYIELD();
  }
}

static void Task2_Handler( void* parameter)
{
  char msg[100];
  while( 1 )
  {
    /* printf("%s\n", (char*)parameter);
    Instead of using printf, we will use SEGGER_SYSVIEW_PrintfTarget and this
    will help in showing these messages in task on SystemView PC Host App.*/
    snprintf(msg, 100, "%s\n", (char*)parameter);
    SEGGER_SYSVIEW_PrintfTarget(msg);
    /* this will force the context switch or willingly giving up the processor */
    taskYIELD();
  }
}
/* USER CODE END 4 */

void HAL_TIM_PeriodElapsedCallback(TIM_HandleTypeDef *htim)
{
  if (htim->Instance == TIM6) {
    HAL_IncTick();
  }
}

void Error_Handler(void)
{
  __disable_irq();
  while (1)
  {
  }
}
